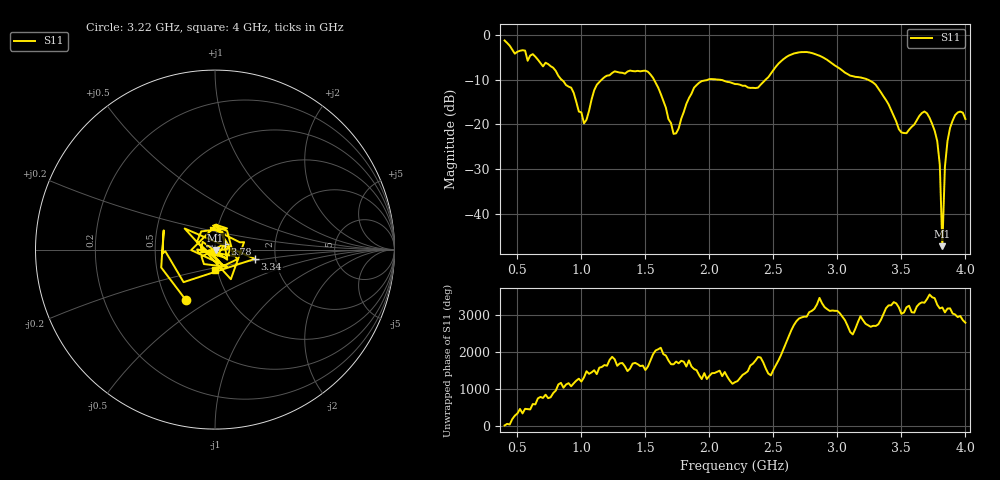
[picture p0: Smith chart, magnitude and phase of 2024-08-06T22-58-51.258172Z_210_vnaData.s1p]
!Created with skrf (http://scikit-rf.org).
# Hz S RI R 50.0
!freq ReS11 ImS11
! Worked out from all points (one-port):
!   181 points, 400 MHz to 4 GHz, reference 50 ohm
!   lowest |S11| = -47.3 dB at 3.82 GHz (marker M1), VSWR 1.01, Z = 50.3 - j0.286 ohm
!   |S11| at or under -10 dB: 1.567 GHz to 1.988 GHz (420.5 MHz wide, 23.7 % of centre); 2.081 GHz to 2.439 GHz (357.3 MHz wide, 15.8 % of centre); 3.239 GHz to end of sweep (the widest 3 of 4)
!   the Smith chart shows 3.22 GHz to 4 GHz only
!   S11 on the Smith chart (normalised r, x): 3.22 GHz: 0.63, -0.39; 3.34 GHz: 1.56, -0.17; 3.78 GHz: 1.11, +0.08; 4 GHz: 0.97, -0.23
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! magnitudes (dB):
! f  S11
! 400 MHz  -1.2
! 860 MHz  -10.4
! 920 MHz  -11.8
! 1.02 GHz  -19.8
! 1.12 GHz  -11.2
! 1.3 GHz  -8.4
! 1.52 GHz  -8.2
! 1.6 GHz  -11.8
! 1.72 GHz  -22.1
! 1.76 GHz  -20.9
! 1.92 GHz  -10.7
! 2.2 GHz  -11.0
! 2.38 GHz  -11.8
! 2.66 GHz  -4.1
! 2.86 GHz  -4.6
! 3.1 GHz  -9.1
! 3.22 GHz  -9.8
! 3.34 GHz  -12.8
! 3.48 GHz  -21.1
! 3.56 GHz  -21.2
! 3.68 GHz  -17.1
! 3.78 GHz  -23.7
! 3.8 GHz  -29.1
! 3.82 GHz  -47.3
! 3.84 GHz  -29.5
! 3.86 GHz  -23.8
! 3.92 GHz  -17.9
! 4 GHz  -18.8
